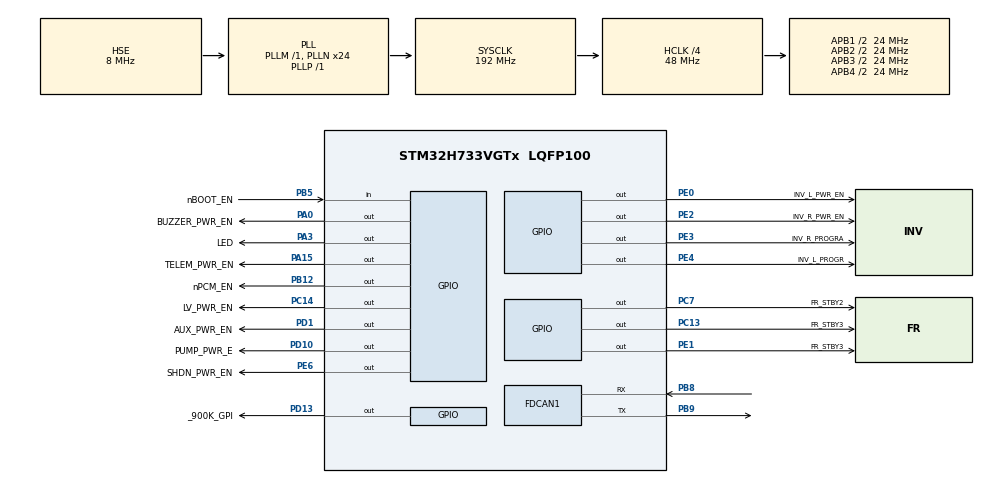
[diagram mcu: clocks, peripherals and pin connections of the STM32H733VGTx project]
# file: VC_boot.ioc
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CORTEX_M7.CPU_DCache=Disabled
CORTEX_M7.CPU_ICache=Disabled
CRC.InputDataFormat=CRC_INPUTDATA_FORMAT_WORDS
FDCAN1.AutoRetransmission=ENABLE
FDCAN1.CalculateBaudRateNominal=500000
FDCAN1.CalculateTimeBitNominal=2000
FDCAN1.CalculateTimeQuantumNominal=125.0
FDCAN1.NominalPrescaler=6
FDCAN1.NominalSyncJumpWidth=4
FDCAN1.NominalTimeSeg1=13
FDCAN1.RxFifo0ElmtsNbr=1
FDCAN1.RxFifo1ElmtsNbr=0
FDCAN1.StdFiltersNbr=1
FDCAN1.TxFifoQueueElmtsNbr=1
FREERTOS.Tasks01=interfaceTask,32,512,runInterfaceTask,Default,NULL,Static,interfaceTaskBuffer,interfaceTaskControlBlock;tickTask,24,512,runTickTask,Default,NULL,Static,tickTaskBuffer,tickTaskControlBlock;canTxTask,16,512,runCanTxTask,Default,NULL,Static,canTxTaskBuffer,canTxTaskControlBlock
FREERTOS.configUSE_NEWLIB_REENTRANT=1
Mcu.Family=STM32H7
Mcu.Name=STM32H733VGTx
Mcu.Package=LQFP100
NVIC.FDCAN1_IT0_IRQn=true\:5\:0\:false\:false\:true\:true\:true\:true\:true
NVIC.FDCAN1_IT1_IRQn=true\:5\:0\:false\:false\:true\:true\:true\:true\:true
NVIC.PriorityGroup=NVIC_PRIORITYGROUP_4
NVIC.TIM6_DAC_IRQn=true\:15\:0\:false\:false\:true\:false\:false\:true\:true
NVIC.TimeBase=TIM6_DAC_IRQn
NVIC.TimeBaseIP=TIM6
PA0.GPIO_Label=BUZZER_PWR_EN
PA0.Signal=GPIO_Output
PA15(JTDI).GPIO_Label=TELEM_PWR_EN
PA15(JTDI).Signal=GPIO_Output
PA3.GPIO_Label=LED
PA3.Signal=GPIO_Output
PB12.GPIO_Label=nPCM_EN
PB12.PinState=GPIO_PIN_SET
PB12.Signal=GPIO_Output
PB5.GPIO_Label=nBOOT_EN
PB5.GPIO_PuPd=GPIO_PULLUP
PB5.Signal=GPIO_Input
PB8.Mode=FDCAN_Activate
PB8.Signal=FDCAN1_RX
PB9.Mode=FDCAN_Activate
PB9.Signal=FDCAN1_TX
PC13.GPIO_Label=FR_STBY3
PC13.Signal=GPIO_Output
PC14-OSC32_IN.GPIO_Label=LV_PWR_EN
PC14-OSC32_IN.Signal=GPIO_Output
PC7.GPIO_Label=FR_STBY2
PC7.Signal=GPIO_Output
PD1.GPIO_Label=AUX_PWR_EN
PD1.Signal=GPIO_Output
PD10.GPIO_Label=PUMP_PWR_E
PD10.Signal=GPIO_Output
PD13.GPIO_Label=_900K_GPI
PD13.Signal=GPIO_Output
PE0.GPIO_Label=INV_L_PWR_EN
PE0.Signal=GPIO_Output
PE1.GPIO_Label=FR_STBY3
PE1.Signal=GPIO_Output
PE2.GPIO_Label=INV_R_PWR_EN
PE2.Signal=GPIO_Output
PE3.GPIO_Label=INV_R_PROGRA
PE3.Signal=GPIO_Output
PE4.GPIO_Label=INV_L_PROGR
PE4.Signal=GPIO_Output
PE6.GPIO_Label=SHDN_PWR_EN
PE6.Signal=GPIO_Output
PH0-OSC_IN.Mode=HSE-External-Oscillator
PH0-OSC_IN.Signal=RCC_OSC_IN
PH1-OSC_OUT.Mode=HSE-External-Oscillator
PH1-OSC_OUT.Signal=RCC_OSC_OUT
ProjectManager.HeapSize=0x00
ProjectManager.StackSize=0x400
ProjectManager.TargetToolchain=STM32CubeIDE
RCC.ADCFreq_Value=16125000
RCC.APB1Freq_Value=24000000
RCC.APB2Freq_Value=24000000
RCC.APB3Freq_Value=24000000
RCC.APB4Freq_Value=24000000
RCC.CortexFreq_Value=96000000
RCC.D1CPRE=RCC_SYSCLK_DIV2
RCC.D1PPRE=RCC_APB3_DIV2
RCC.D2PPRE1=RCC_APB1_DIV2
RCC.D2PPRE2=RCC_APB2_DIV2
RCC.D3PPRE=RCC_APB4_DIV2
RCC.DIVM1=1
RCC.DIVN1=24
RCC.DIVP1=1
RCC.DIVQ1=4
RCC.HCLKFreq_Value=48000000
RCC.HPRE=RCC_HCLK_DIV2
RCC.HSE_VALUE=8000000
RCC.PLL2FRACN=0
RCC.PLL3FRACN=0
RCC.PLLFRACN=0
RCC.PLLSourceVirtual=RCC_PLLSOURCE_HSE
RCC.SYSCLKFreq_VALUE=192000000
RCC.SYSCLKSource=RCC_SYSCLKSOURCE_PLLCLK
RCC.USBFreq_Value=48000000
VP_CRC_VS_CRC.Mode=CRC_Activate
VP_FREERTOS_VS_CMSIS_V2.Mode=CMSIS_V2
VP_SYS_VS_tim6.Mode=TIM6
board=custom

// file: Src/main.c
/* USER CODE BEGIN Header */
/**
 ******************************************************************************
 * @file           : main.c
 * @brief          : Main program body
 ******************************************************************************
 * @attention
 *
 * Copyright (c) 2023 STMicroelectronics.
 * All rights reserved.
 *
 * This software is licensed under terms that can be found in the LICENSE file
 * in the root directory of this software component.
 * If no LICENSE file comes with this software, it is provided AS-IS.
 *
 ******************************************************************************
 */
/* USER CODE END Header */
#include "main.h"
#include "cmsis_os.h"

/* USER CODE BEGIN Includes */
#include "bootloader.h"
#include "hw_fdcan.h"
#include "hw_utils.h"
#include "io_log.h"
#include <assert.h>
#include "io_canQueue.h"
#include "hw_error.h"
/* USER CODE END Includes */

typedef StaticTask_t osStaticThreadDef_t;

CRC_HandleTypeDef hcrc;

FDCAN_HandleTypeDef hfdcan1;

/* Definitions for interfaceTask */
osThreadId_t         interfaceTaskHandle;
uint32_t             interfaceTaskBuffer[512];
osStaticThreadDef_t  interfaceTaskControlBlock;
const osThreadAttr_t interfaceTask_attributes = {
    .name       = "interfaceTask",
    .cb_mem     = &interfaceTaskControlBlock,
    .cb_size    = sizeof(interfaceTaskControlBlock),
    .stack_mem  = &interfaceTaskBuffer[0],
    .stack_size = sizeof(interfaceTaskBuffer),
    .priority   = (osPriority_t)osPriorityAboveNormal,
};
/* Definitions for tickTask */
osThreadId_t         tickTaskHandle;
uint32_t             tickTaskBuffer[512];
osStaticThreadDef_t  tickTaskControlBlock;
const osThreadAttr_t tickTask_attributes = {
    .name       = "tickTask",
    .cb_mem     = &tickTaskControlBlock,
    .cb_size    = sizeof(tickTaskControlBlock),
    .stack_mem  = &tickTaskBuffer[0],
    .stack_size = sizeof(tickTaskBuffer),
    .priority   = (osPriority_t)osPriorityNormal,
};
/* Definitions for canTxTask */
osThreadId_t         canTxTaskHandle;
uint32_t             canTxTaskBuffer[512];
osStaticThreadDef_t  canTxTaskControlBlock;
const osThreadAttr_t canTxTask_attributes = {
    .name       = "canTxTask",
    .cb_mem     = &canTxTaskControlBlock,
    .cb_size    = sizeof(canTxTaskControlBlock),
    .stack_mem  = &canTxTaskBuffer[0],
    .stack_size = sizeof(canTxTaskBuffer),
    .priority   = (osPriority_t)osPriorityBelowNormal,
};

void        SystemClock_Config(void);
static void MX_GPIO_Init(void);
static void MX_CRC_Init(void);
static void MX_FDCAN1_Init(void);
void        runInterfaceTask(void *argument);
void        runTickTask(void *argument);
void        runCanTxTask(void *argument);

/* USER CODE BEGIN 0 */
CanHandle can = { .hcan = &hfdcan1, .bus_num = 2, .receive_callback = io_canQueue_pushRx };
/* USER CODE END 0 */

int main(void)
{
    /* USER CODE BEGIN 1 */
    bootloader_preInit();
    /* USER CODE END 1 */

    /* MCU Configuration--------------------------------------------------------*/

    /* Reset of all peripherals, Initializes the Flash interface and the Systick. */
    HAL_Init();

    /* Configure the system clock */
    SystemClock_Config();

    /* Initialize all configured peripherals */
    MX_GPIO_Init();
    MX_CRC_Init();
    MX_FDCAN1_Init();
    /* USER CODE BEGIN 2 */
    bootloader_init();
    /* USER CODE END 2 */

    /* Init scheduler */
    osKernelInitialize();

    /* Create the thread(s) */
    /* creation of interfaceTask */
    interfaceTaskHandle = osThreadNew(runInterfaceTask, NULL, &interfaceTask_attributes);

    /* creation of tickTask */
    tickTaskHandle = osThreadNew(runTickTask, NULL, &tickTask_attributes);

    /* creation of canTxTask */
    canTxTaskHandle = osThreadNew(runCanTxTask, NULL, &canTxTask_attributes);

    /* Start scheduler */
    osKernelStart();

    /* We should never get here as control is now taken by the scheduler */
    /* Infinite loop */
    while (1)
    {

    }
}

void SystemClock_Config(void)
{
    RCC_OscInitTypeDef RCC_OscInitStruct = { 0 };
    RCC_ClkInitTypeDef RCC_ClkInitStruct = { 0 };

    /** Supply configuration update enable
     */
    HAL_PWREx_ConfigSupply(PWR_LDO_SUPPLY);

    /** Configure the main internal regulator output voltage
     */
    __HAL_PWR_VOLTAGESCALING_CONFIG(PWR_REGULATOR_VOLTAGE_SCALE3);

    while (!__HAL_PWR_GET_FLAG(PWR_FLAG_VOSRDY))
    {
    }

    /** Initializes the RCC Oscillators according to the specified parameters
     * in the RCC_OscInitTypeDef structure.
     */
    RCC_OscInitStruct.OscillatorType = RCC_OSCILLATORTYPE_HSE;
    RCC_OscInitStruct.HSEState       = RCC_HSE_ON;
    RCC_OscInitStruct.PLL.PLLState   = RCC_PLL_ON;
    RCC_OscInitStruct.PLL.PLLSource  = RCC_PLLSOURCE_HSE;
    RCC_OscInitStruct.PLL.PLLM       = 1;
    RCC_OscInitStruct.PLL.PLLN       = 24;
    RCC_OscInitStruct.PLL.PLLP       = 1;
    RCC_OscInitStruct.PLL.PLLQ       = 4;
    RCC_OscInitStruct.PLL.PLLR       = 2;
    RCC_OscInitStruct.PLL.PLLRGE     = RCC_PLL1VCIRANGE_3;
    RCC_OscInitStruct.PLL.PLLVCOSEL  = RCC_PLL1VCOWIDE;
    RCC_OscInitStruct.PLL.PLLFRACN   = 0;
    if (HAL_RCC_OscConfig(&RCC_OscInitStruct) != HAL_OK)
    {
        Error_Handler();
    }

    /** Initializes the CPU, AHB and APB buses clocks
     */
    RCC_ClkInitStruct.ClockType = RCC_CLOCKTYPE_HCLK | RCC_CLOCKTYPE_SYSCLK | RCC_CLOCKTYPE_PCLK1 |
                                  RCC_CLOCKTYPE_PCLK2 | RCC_CLOCKTYPE_D3PCLK1 | RCC_CLOCKTYPE_D1PCLK1;
    RCC_ClkInitStruct.SYSCLKSource   = RCC_SYSCLKSOURCE_PLLCLK;
    RCC_ClkInitStruct.SYSCLKDivider  = RCC_SYSCLK_DIV2;
    RCC_ClkInitStruct.AHBCLKDivider  = RCC_HCLK_DIV2;
    RCC_ClkInitStruct.APB3CLKDivider = RCC_APB3_DIV2;
    RCC_ClkInitStruct.APB1CLKDivider = RCC_APB1_DIV2;
    RCC_ClkInitStruct.APB2CLKDivider = RCC_APB2_DIV2;
    RCC_ClkInitStruct.APB4CLKDivider = RCC_APB4_DIV2;

    if (HAL_RCC_ClockConfig(&RCC_ClkInitStruct, FLASH_LATENCY_1) != HAL_OK)
    {
        Error_Handler();
    }
}

static void MX_CRC_Init(void)
{

    hcrc.Instance                     = CRC;
    hcrc.Init.DefaultPolynomialUse    = DEFAULT_POLYNOMIAL_ENABLE;
    hcrc.Init.DefaultInitValueUse     = DEFAULT_INIT_VALUE_ENABLE;
    hcrc.Init.InputDataInversionMode  = CRC_INPUTDATA_INVERSION_NONE;
    hcrc.Init.OutputDataInversionMode = CRC_OUTPUTDATA_INVERSION_DISABLE;
    hcrc.InputDataFormat              = CRC_INPUTDATA_FORMAT_WORDS;
    if (HAL_CRC_Init(&hcrc) != HAL_OK)
    {
        Error_Handler();
    }
}

static void MX_FDCAN1_Init(void)
{

    hfdcan1.Instance                  = FDCAN1;
    hfdcan1.Init.FrameFormat          = FDCAN_FRAME_CLASSIC;
    hfdcan1.Init.Mode                 = FDCAN_MODE_NORMAL;
    hfdcan1.Init.AutoRetransmission   = ENABLE;
    hfdcan1.Init.TransmitPause        = DISABLE;
    hfdcan1.Init.ProtocolException    = DISABLE;
    hfdcan1.Init.NominalPrescaler     = 6;
    hfdcan1.Init.NominalSyncJumpWidth = 4;
    hfdcan1.Init.NominalTimeSeg1      = 13;
    hfdcan1.Init.NominalTimeSeg2      = 2;
    hfdcan1.Init.DataPrescaler        = 1;
    hfdcan1.Init.DataSyncJumpWidth    = 1;
    hfdcan1.Init.DataTimeSeg1         = 1;
    hfdcan1.Init.DataTimeSeg2         = 1;
    hfdcan1.Init.MessageRAMOffset     = 0;
    hfdcan1.Init.StdFiltersNbr        = 1;
    hfdcan1.Init.ExtFiltersNbr        = 0;
    hfdcan1.Init.RxFifo0ElmtsNbr      = 1;
    hfdcan1.Init.RxFifo0ElmtSize      = FDCAN_DATA_BYTES_8;
    hfdcan1.Init.RxFifo1ElmtsNbr      = 0;
    hfdcan1.Init.RxFifo1ElmtSize      = FDCAN_DATA_BYTES_8;
    hfdcan1.Init.RxBuffersNbr         = 0;
    hfdcan1.Init.RxBufferSize         = FDCAN_DATA_BYTES_8;
    hfdcan1.Init.TxEventsNbr          = 0;
    hfdcan1.Init.TxBuffersNbr         = 0;
    hfdcan1.Init.TxFifoQueueElmtsNbr  = 1;
    hfdcan1.Init.TxFifoQueueMode      = FDCAN_TX_FIFO_OPERATION;
    hfdcan1.Init.TxElmtSize           = FDCAN_DATA_BYTES_8;
    if (HAL_FDCAN_Init(&hfdcan1) != HAL_OK)
    {
        Error_Handler();
    }
}

static void MX_GPIO_Init(void)
{
    GPIO_InitTypeDef GPIO_InitStruct = { 0 };

    /* GPIO Ports Clock Enable */
    __HAL_RCC_GPIOE_CLK_ENABLE();
    __HAL_RCC_GPIOC_CLK_ENABLE();
    __HAL_RCC_GPIOH_CLK_ENABLE();
    __HAL_RCC_GPIOA_CLK_ENABLE();
    __HAL_RCC_GPIOB_CLK_ENABLE();
    __HAL_RCC_GPIOD_CLK_ENABLE();

    /*Configure GPIO pin Output Level */
    HAL_GPIO_WritePin(
        GPIOE,
        INV_R_PWR_EN_Pin | INV_R_PROGRA_Pin | INV_L_PROGR_Pin | SHDN_PWR_EN_Pin | INV_L_PWR_EN_Pin | FR_STBY3E1_Pin,
        GPIO_PIN_RESET);

    /*Configure GPIO pin Output Level */
    HAL_GPIO_WritePin(GPIOC, FR_STBY3_Pin | LV_PWR_EN_Pin | FR_STBY2_Pin, GPIO_PIN_RESET);

    /*Configure GPIO pin Output Level */
    HAL_GPIO_WritePin(GPIOA, BUZZER_PWR_EN_Pin | LED_Pin | TELEM_PWR_EN_Pin, GPIO_PIN_RESET);

    /*Configure GPIO pin Output Level */
    HAL_GPIO_WritePin(nPCM_EN_GPIO_Port, nPCM_EN_Pin, GPIO_PIN_SET);

    /*Configure GPIO pin Output Level */
    HAL_GPIO_WritePin(GPIOD, PUMP_PWR_E_Pin | _900K_GPI_Pin | AUX_PWR_EN_Pin, GPIO_PIN_RESET);

    /*Configure GPIO pins : INV_R_PWR_EN_Pin INV_R_PROGRA_Pin INV_L_PROGR_Pin SHDN_PWR_EN_Pin
                             INV_L_PWR_EN_Pin FR_STBY3E1_Pin */
    GPIO_InitStruct.Pin =
        INV_R_PWR_EN_Pin | INV_R_PROGRA_Pin | INV_L_PROGR_Pin | SHDN_PWR_EN_Pin | INV_L_PWR_EN_Pin | FR_STBY3E1_Pin;
    GPIO_InitStruct.Mode  = GPIO_MODE_OUTPUT_PP;
    GPIO_InitStruct.Pull  = GPIO_NOPULL;
    GPIO_InitStruct.Speed = GPIO_SPEED_FREQ_LOW;
    HAL_GPIO_Init(GPIOE, &GPIO_InitStruct);

    /*Configure GPIO pins : FR_STBY3_Pin LV_PWR_EN_Pin FR_STBY2_Pin */
    GPIO_InitStruct.Pin   = FR_STBY3_Pin | LV_PWR_EN_Pin | FR_STBY2_Pin;
    GPIO_InitStruct.Mode  = GPIO_MODE_OUTPUT_PP;
    GPIO_InitStruct.Pull  = GPIO_NOPULL;
    GPIO_InitStruct.Speed = GPIO_SPEED_FREQ_LOW;
    HAL_GPIO_Init(GPIOC, &GPIO_InitStruct);

    /*Configure GPIO pins : BUZZER_PWR_EN_Pin LED_Pin TELEM_PWR_EN_Pin */
    GPIO_InitStruct.Pin   = BUZZER_PWR_EN_Pin | LED_Pin | TELEM_PWR_EN_Pin;
    GPIO_InitStruct.Mode  = GPIO_MODE_OUTPUT_PP;
    GPIO_InitStruct.Pull  = GPIO_NOPULL;
    GPIO_InitStruct.Speed = GPIO_SPEED_FREQ_LOW;
    HAL_GPIO_Init(GPIOA, &GPIO_InitStruct);

    /*Configure GPIO pin : nPCM_EN_Pin */
    GPIO_InitStruct.Pin   = nPCM_EN_Pin;
    GPIO_InitStruct.Mode  = GPIO_MODE_OUTPUT_PP;
    GPIO_InitStruct.Pull  = GPIO_NOPULL;
    GPIO_InitStruct.Speed = GPIO_SPEED_FREQ_LOW;
    HAL_GPIO_Init(nPCM_EN_GPIO_Port, &GPIO_InitStruct);

    /*Configure GPIO pins : PUMP_PWR_E_Pin _900K_GPI_Pin AUX_PWR_EN_Pin */
    GPIO_InitStruct.Pin   = PUMP_PWR_E_Pin | _900K_GPI_Pin | AUX_PWR_EN_Pin;
    GPIO_InitStruct.Mode  = GPIO_MODE_OUTPUT_PP;
    GPIO_InitStruct.Pull  = GPIO_NOPULL;
    GPIO_InitStruct.Speed = GPIO_SPEED_FREQ_LOW;
    HAL_GPIO_Init(GPIOD, &GPIO_InitStruct);

    /*Configure GPIO pin : nBOOT_EN_Pin */
    GPIO_InitStruct.Pin  = nBOOT_EN_Pin;
    GPIO_InitStruct.Mode = GPIO_MODE_INPUT;
    GPIO_InitStruct.Pull = GPIO_PULLUP;
    HAL_GPIO_Init(nBOOT_EN_GPIO_Port, &GPIO_InitStruct);

}

void runInterfaceTask(void *argument)
{
    /* USER CODE BEGIN 5 */
    UNUSED(argument);
    bootloader_runInterfaceTask();
    /* USER CODE END 5 */
}

void runTickTask(void *argument)
{
    /* USER CODE BEGIN runTickTask */
    UNUSED(argument);
    bootloader_runTickTask();
    /* USER CODE END runTickTask */
}

void runCanTxTask(void *argument)
{
    /* USER CODE BEGIN runCanTxTask */
    UNUSED(argument);
    bootloader_runCanTxTask();
    /* USER CODE END runCanTxTask */
}

void HAL_TIM_PeriodElapsedCallback(TIM_HandleTypeDef *htim)
{
    if (htim->Instance == TIM6)
    {
        HAL_IncTick();
    }
}

void Error_Handler(void)
{
    __disable_irq();
    while (1)
    {
    }
}
